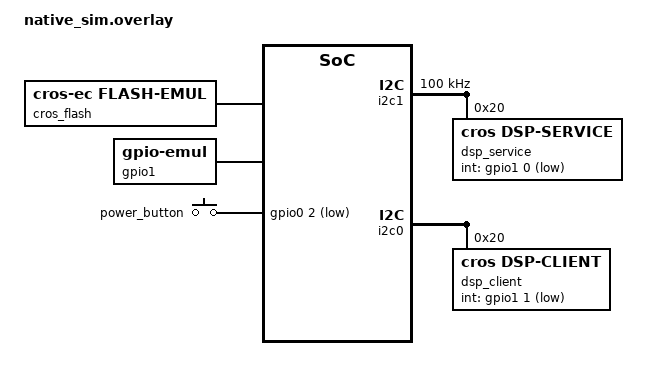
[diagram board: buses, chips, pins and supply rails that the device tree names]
/* Copyright 2024 The ChromiumOS Authors
 * Use of this source code is governed by a BSD-style license that can be
 * found in the LICENSE file.
 */

#include <board-overlays/native_sim.dts>
#include <cros/binman.dtsi>
#include <cros/cbi_flash.dtsi>
#include <dt-bindings/buttons.h>
#include <zephyr/dt-bindings/input/input-event-codes.h>

 / {
    chosen {
	    cros-ec,flash-controller = &cros_flash;
    };

    aliases {
        gpio-wp = &gpio_wp_l;
        test-dsp-client = &dsp_client;
        test-dsp-service = &dsp_service;
        test-lid-open = &gpio_lid_open;
    };

    named-i2c-ports {
	    compatible = "named-i2c-ports";
    };

    cros_flash: cros-flash {
		compatible = "cros-ec,flash-emul";
	};

  gpio1: gpio_emul {
		status = "okay";
		compatible = "zephyr,gpio-emul";
		rising-edge;
		falling-edge;
		high-level;
		low-level;
		gpio-controller;
		#gpio-cells = <2>;
	};


  i2c1: i2c@400 {
		status = "okay";
		compatible = "zephyr,i2c-emul-controller";
		clock-frequency = <I2C_BITRATE_STANDARD>;
		#address-cells = <1>;
		#size-cells = <0>;
		#forward-cells = <1>;
		reg = <0x400 4>;

      dsp_service: dsp-service@20 {
        compatible = "cros,dsp-service";
        int-gpios = <&gpio1 0 (GPIO_PUSH_PULL | GPIO_ACTIVE_LOW)>;
        reg = <0x20>;
      };
    };


    named-gpios {
      gpio_wp_l: wp_l {
        gpios = <&gpio0 1 (GPIO_INPUT | GPIO_OUTPUT | GPIO_ACTIVE_LOW)>;
      };
      gpio_ec_en_edp_bl: ec_en_edp_bl {
        gpios = <&gpio0 3 GPIO_OUTPUT>;
        enum-name = "GPIO_ENABLE_BACKLIGHT";
      };
      gpio_lid_open: lid_open {
        gpios = <&gpio0 4 GPIO_INPUT>;
        enum-name = "GPIO_LID_OPEN";
      };
      gpio_tablet_mode_l: tablet_mode_l {
        gpios = <&gpio0 5 GPIO_INPUT>;
        enum-name = "GPIO_TABLET_MODE_L";
      };
    };

    gpio_interrupts: gpio-interrupts {
      compatible = "cros-ec,gpio-interrupts";
      int_lid_open: lid_open {
        irq-pin = <&gpio_lid_open>;
        flags = <GPIO_INT_EDGE_BOTH>;
        handler = "lid_interrupt";
      };
    };

    gpio-keys {
      compatible = "gpio-keys";
      debounce-interval-ms = <30>;
      power_button: power_button {
        gpios = <&gpio0 2 (GPIO_ACTIVE_LOW | GPIO_PULL_UP)>;
        /* TODO: use an INPUT_KEY code here. */
        zephyr,code = <BUTTON_POWER>;
      };
    };
};

&cbi_flash {
	offset = <(0x40000 - 0x1000)>;
	size = <0x1000>;
};

&i2c0 {
  forwards = <&i2c1 0x20>;

  dsp_client: dsp-client@20 {
    compatible = "cros,dsp-client";
    zephyr,deferred-init;
    reg = <0x20>;
    int-gpios = <&gpio1 1 GPIO_ACTIVE_LOW>;
  };
};
